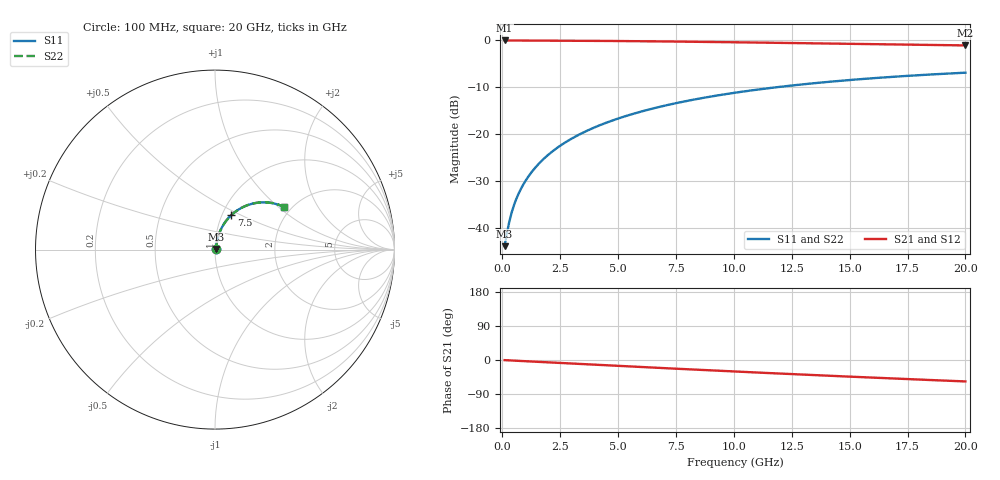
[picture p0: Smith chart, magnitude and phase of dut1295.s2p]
! Touchstone file exported from HFSS 2026.1.0
!  File:  C:/ffzhzh/LocalFiles/Ansys_Project_Files/temp_train_TMRDL_1295_1783164584_55132.aedt
!  Generated:  07:31:15 PM Jul  4, 2026
!  Design:  TMRDL
!  Project:  temp_train_TMRDL_1295_1783164584_55132
! Variables:
!  h_bsmrdl = 2um
!  h_ox = 20um
!  h_rdl = 5um
!  h_sub = 80um
!  h_tmrdl = 2.15um
!  h_tsv = 80um
!  h_via = 3um
!  l_bsmrdl = 300um
!  l_sub = 1272.39um
!  l_tmrdl = 872.39um
!  m_sub = 200um
!  pitch = 54.52um
!  r_tsv = 6um
!  s_tmrdl = 10um
!  w_bsmrdl = 18um
!  w_sub = 500um
!  w_tmrdl = 28.43um
!  x_tsv_center1 = 886.605um
!  x_tsv_center2 = 1204.605um
!  x_tsv_center3 = 2105.425um
!  x_tsv_center4 = 2423.425um
!  x_tsv_center5 = 3324.245um
!  x_tsv_center6 = 3642.245um
# GHz S MA R 50.000000
! Terminal data exported
! Port[1] = TM_RDL1_1_T1
! Port[2] = TM_RDL1_1_T2
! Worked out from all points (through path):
!   200 points, 100 MHz to 20 GHz, reference 50 ohm
!   highest |S21| = -0.05 dB at 100 MHz (marker M1); lowest = -1.1 dB at 20 GHz (marker M2)
!   group delay of S21, straight-line fit = 7.87 ps
!   lowest |S11| = -43.9 dB at 100 MHz (marker M3), VSWR 1.01, Z = 50.5 + j0.34 ohm
!   |S11| at or under -10 dB: start of sweep to 11.89 GHz
!   |S22| runs from -43.9 to -6.9 dB; largest |S21 - S12| = 1.7e-14
!   S11 on the Smith chart (normalised r, x): 100 MHz: 1.01, +0.01; 7.5 GHz: 1.11, +0.45; 20 GHz: 1.82, +1.09
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0.1  0.006362 31.9  0.9946 -0.3  0.9946 -0.3  0.006362 31.9
! Gamma 0 0 0 0
! Port Impedance 50 0 50 0
0.2  0.008729 49.6  0.9944 -0.7  0.9944 -0.7  0.008729 49.6
0.3  0.01152 58.5  0.9941 -1.0  0.9941 -1.0  0.01152 58.5
0.4  0.01439 63.6  0.9938 -1.3  0.9938 -1.3  0.01439 63.6
0.5  0.01727 66.8  0.9935 -1.6  0.9935 -1.6  0.01727 66.8
0.6  0.02014 69.0  0.9933 -1.9  0.9933 -1.9  0.02014 69.0
0.8  0.02585 72.0  0.9928 -2.6  0.9928 -2.6  0.02585 72.0
1.1  0.03443 74.5  0.9923 -3.5  0.9923 -3.5  0.03443 74.5
1.3  0.04019 75.4  0.9919 -4.1  0.9919 -4.1  0.04018 75.4
1.6  0.04885 76.2  0.9914 -5.0  0.9914 -5.0  0.04885 76.2
2.1  0.06335 76.5  0.9904 -6.6  0.9904 -6.6  0.06335 76.5
2.7  0.08074 76.1  0.989 -8.4  0.989 -8.4  0.08074 76.1
3.5  0.1038 74.7  0.9867 -10.9  0.9867 -10.9  0.1038 74.7
4.2  0.1237 73.2  0.9842 -13.0  0.9842 -13.0  0.1237 73.2
5  0.1461 71.3  0.9809 -15.5  0.9809 -15.5  0.1461 71.3
5.9  0.1709 68.9  0.9767 -18.2  0.9767 -18.2  0.1709 68.9
6.8  0.1949 66.5  0.972 -20.9  0.972 -20.9  0.1949 66.5
7.5  0.2132 64.6  0.968 -23.0  0.968 -23.0  0.2132 64.6
10.1  0.2767 57.5  0.9511 -30.5  0.9511 -30.5  0.2767 57.5
13.4  0.3469 48.6  0.9271 -39.6  0.9271 -39.6  0.3469 48.6
16.7  0.4047 40.1  0.9029 -48.3  0.9029 -48.3  0.4047 40.1
20  0.4507 32.0  0.8807 -56.6  0.8807 -56.6  0.4507 32.1
